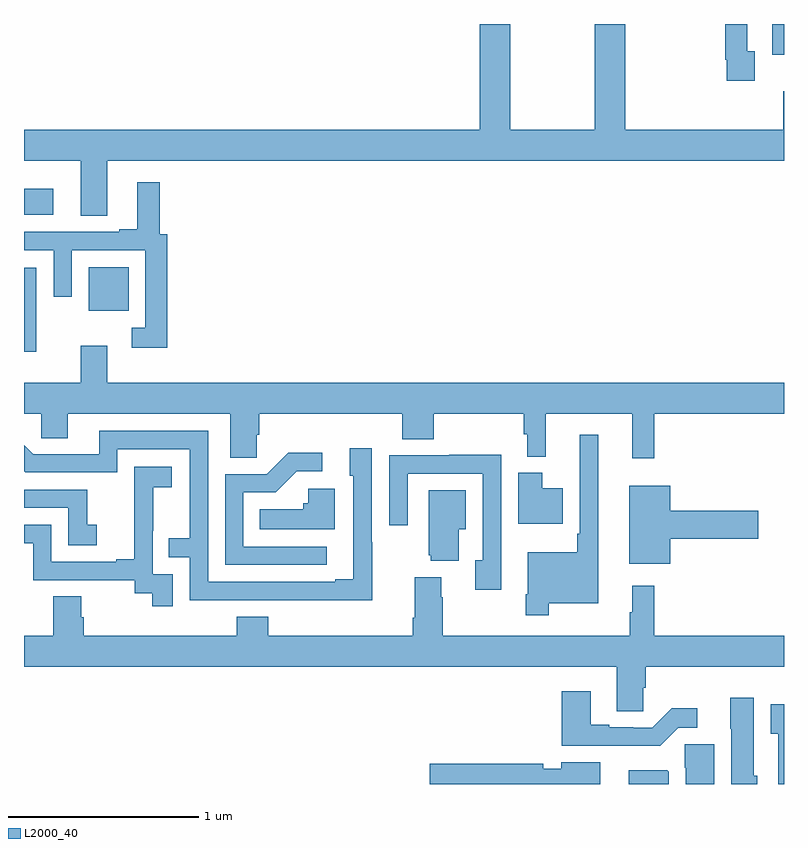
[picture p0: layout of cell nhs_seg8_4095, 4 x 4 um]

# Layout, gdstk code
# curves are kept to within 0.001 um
import gdstk
lib = gdstk.Library(unit=1e-6, precision=1e-09)
def R(c, l, rs):  # rectangles x0, y0, x1, y1
    for r in rs: c.add(gdstk.rectangle(r[:2], r[2:], *l))
def P(c, l, *ps):  # polygons
    for p in ps: c.add(gdstk.Polygon(p, *l))
L2000_40 = (2000, 40)

nhs_seg8_4095 = lib.new_cell('nhs_seg8_4095')
R(nhs_seg8_4095, L2000_40, [(363,1102.176,363.064,1102.618), (363.341,1102.391,363.55,1102.621), (363,1102.896,363.154,1103.032), (366.938,1103.737,367,1103.9)])
P(nhs_seg8_4095, L2000_40, [(363.439,1103.18),(367,1103.18),(367,1103.546),(366.995,1103.546),(366.995,1103.344),(366.164,1103.344),(366.164,1103.9),(366.004,1103.9),(366.004,1103.344),(365.559,1103.344),(365.559,1103.9),(365.399,1103.9),(365.399,1103.344),(363,1103.344),(363,1103.18),(363.299,1103.18),(363.299,1102.891),(363.439,1102.891)],
  [(366.847,1103.757),(366.807,1103.757),(366.807,1103.9),(366.691,1103.9),(366.691,1103.713),(366.699,1103.713),(366.699,1103.601),(366.847,1103.601)],
  [(363.755,1102.794),(363.715,1102.794),(363.715,1103.068),(363.596,1103.068),(363.596,1102.821),(363.5,1102.821),(363.5,1102.806),(363,1102.806),(363,1102.71),(363.156,1102.71),(363.156,1102.464),(363.252,1102.464),(363.252,1102.71),(363.639,1102.71),(363.639,1102.302),(363.567,1102.302),(363.567,1102.197),(363.755,1102.197)],
  [(366.317,1101.848),(367,1101.848),(367,1102.012),(363.439,1102.012),(363.439,1102.207),(363.299,1102.207),(363.299,1102.012),(363,1102.012),(363,1101.848),(363.09,1101.848),(363.09,1101.721),(363.229,1101.721),(363.229,1101.848),(364.085,1101.848),(364.085,1101.616),(364.224,1101.616),(364.224,1101.739),(364.238,1101.739),(364.238,1101.848),(364.991,1101.848),(364.991,1101.715),(365.156,1101.715),(365.156,1101.848),(365.629,1101.848),(365.629,1101.741),(365.648,1101.741),(365.648,1101.623),(365.747,1101.623),(365.747,1101.848),(366.2,1101.848),(366.2,1101.615),(366.317,1101.615)],
  [(364.833,1101.173),(364.83,1101.173),(364.83,1101.667),(364.715,1101.667),(364.715,1101.522),(364.734,1101.522),(364.734,1100.977),(364.637,1100.977),(364.637,1100.964),(363.969,1100.964),(363.969,1101.759),(363.395,1101.759),(363.395,1101.636),(363.048,1101.636),(363,1101.684),(363,1101.546),(363.006,1101.54),(363.492,1101.54),(363.492,1101.663),(363.873,1101.663),(363.873,1101.194),(363.763,1101.194),(363.763,1101.093),(363.873,1101.093),(363.873,1100.868),(364.833,1100.867)],
  [(365.761,1100.852),(366.022,1100.852),(366.022,1101.739),(365.925,1101.739),(365.925,1101.217),(365.913,1101.217),(365.913,1101.121),(365.652,1101.121),(365.652,1100.899),(365.64,1100.899),(365.64,1100.787),(365.761,1100.787)],
  [(364.594,1101.15),(364.155,1101.15),(364.155,1101.435),(364.324,1101.435),(364.435,1101.546),(364.57,1101.546),(364.57,1101.644),(364.391,1101.644),(364.278,1101.531),(364.059,1101.531),(364.059,1101.054),(364.594,1101.054)],
  [(365.512,1101.166),(365.511,1101.166),(365.511,1101.632),(365.239,1101.632),(365.239,1101.63),(364.923,1101.63),(364.923,1101.261),(365.019,1101.261),(365.019,1101.534),(365.415,1101.534),(365.415,1101.078),(365.375,1101.078),(365.375,1100.922),(365.512,1100.922)],
  [(363.783,1101.003),(363.678,1101.003),(363.678,1101.233),(363.68,1101.233),(363.68,1101.461),(363.778,1101.461),(363.778,1101.571),(363.58,1101.571),(363.58,1101.365),(363.581,1101.365),(363.581,1101.082),(363.485,1101.082),(363.485,1101.069),(363.144,1101.069),(363.144,1101.264),(363,1101.264),(363,1101.168),(363.048,1101.168),(363.048,1100.973),(363.582,1100.973),(363.582,1100.905),(363.675,1100.905),(363.675,1100.835),(363.783,1100.835)],
  [(365.836,1101.457),(365.728,1101.457),(365.728,1101.538),(365.6,1101.538),(365.6,1101.269),(365.836,1101.269)],
  [(366.4,1101.191),(366.865,1101.191),(366.865,1101.338),(366.4,1101.338),(366.4,1101.469),(366.185,1101.469),(366.185,1101.059),(366.4,1101.059)],
  [(364.636,1101.454),(364.497,1101.454),(364.497,1101.378),(364.471,1101.378),(364.471,1101.346),(364.24,1101.346),(364.24,1101.242),(364.636,1101.242)],
  [(363.382,1101.265),(363.333,1101.265),(363.333,1101.45),(363,1101.45),(363,1101.354),(363.234,1101.354),(363.234,1101.156),(363.382,1101.156)],
  [(365.287,1101.242),(365.326,1101.242),(365.326,1101.445),(365.129,1101.445),(365.129,1101.105),(365.141,1101.105),(365.141,1101.074),(365.287,1101.074)],
  [(366.258,1100.406),(366.272,1100.406),(366.272,1100.516),(367,1100.516),(367,1100.68),(366.317,1100.68),(366.317,1100.944),(366.2,1100.944),(366.2,1100.804),(366.189,1100.804),(366.189,1100.68),(365.205,1100.68),(365.205,1100.882),(365.197,1100.882),(365.197,1100.989),(365.057,1100.989),(365.057,1100.776),(365.045,1100.776),(365.045,1100.68),(364.286,1100.68),(364.286,1100.779),(364.121,1100.779),(364.121,1100.68),(363.314,1100.68),(363.314,1100.778),(363.301,1100.778),(363.301,1100.888),(363.154,1100.888),(363.154,1100.68),(363,1100.68),(363,1100.516),(366.119,1100.516),(366.119,1100.284),(366.258,1100.284)],
  [(366.444,1100.196),(366.544,1100.196),(366.544,1100.299),(366.409,1100.299),(366.306,1100.196),(366.206,1100.196),(366.206,1100.199),(366.079,1100.199),(366.079,1100.212),(365.983,1100.212),(365.983,1100.389),(365.831,1100.389),(365.831,1100.102),(366.349,1100.102)],
  [(366.859,1099.944),(366.841,1099.944),(366.841,1100.353),(366.716,1100.353),(366.716,1100.19),(366.722,1100.19),(366.722,1099.9),(366.859,1099.9)],
  [(367,1100.32),(366.929,1100.32),(366.929,1100.164),(366.969,1100.164),(366.969,1099.9),(367,1099.9)],
  [(366.634,1100.109),(366.478,1100.109),(366.478,1099.986),(366.482,1099.986),(366.482,1099.9),(366.634,1099.9)],
  [(366.034,1100.014),(365.828,1100.014),(365.828,1099.98),(365.732,1099.98),(365.732,1100.006),(365.136,1100.006),(365.136,1099.9),(366.034,1099.9)],
  [(366.394,1099.964),(366.386,1099.972),(366.182,1099.972),(366.182,1099.9),(366.394,1099.9)])

lib.write_gds('nhs_seg8_4095.gds')
